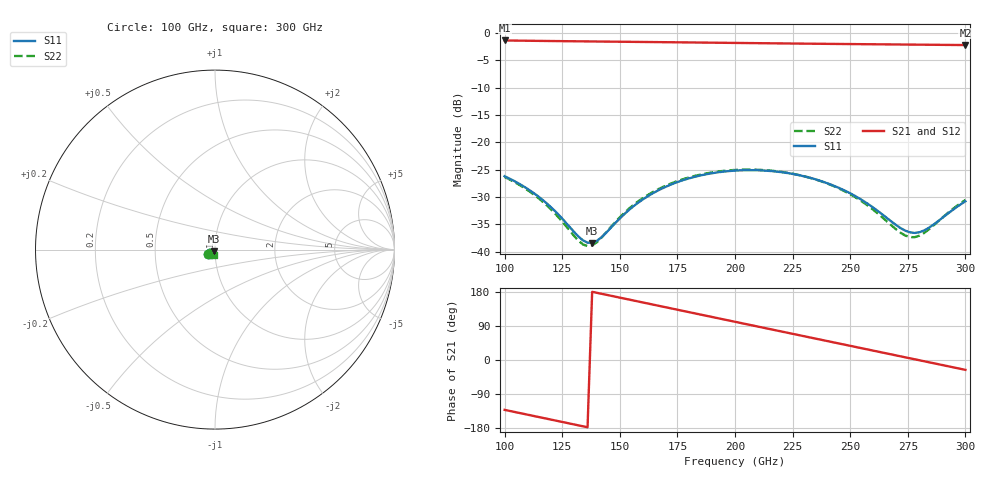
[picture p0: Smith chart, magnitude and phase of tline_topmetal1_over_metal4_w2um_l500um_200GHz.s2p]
#  GHZ S DB R 50
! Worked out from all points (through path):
!   101 points, 100 GHz to 300 GHz, reference 50 ohm
!   highest |S21| = -1.35 dB at 100 GHz (marker M1); lowest = -2.2 dB at 300 GHz (marker M2)
!   group delay of S21, straight-line fit = 3.53 ps
!   lowest |S11| = -38.4 dB at 138 GHz (marker M3), VSWR 1.02, Z = 49.4 - j1.01 ohm
!   |S11| at or under -10 dB: start of sweep to end of sweep
!   |S22| runs from -39.0 to -25.0 dB; largest |S21 - S12| = 9.3e-14
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100  -26.21 -147.8  -1.35 -131.6  -1.35 -131.6  -26.35 -147.9
108  -28.01 -156.4  -1.40 -141.8  -1.40 -141.8  -28.21 -156.6
116  -30.37 -162.4  -1.44 -152.0  -1.44 -152.0  -30.68 -162.5
126  -34.43 -160.9  -1.49 -164.8  -1.49 -164.8  -35.01 -160.4
134  -37.95 -140.5  -1.52 -175.0  -1.52 -175.0  -38.69 -136.4
138  -38.41 -121.8  -1.54 179.9  -1.54 179.9  -38.87 -115.5
142  -37.41 -104.9  -1.56 174.8  -1.56 174.8  -37.48 -98.6
154  -32.38 -88.4  -1.61 159.5  -1.61 159.5  -32.14 -85.0
160  -30.45 -90.1  -1.63 151.9  -1.63 151.9  -30.22 -87.4
168  -28.52 -95.7  -1.67 141.6  -1.67 141.6  -28.31 -93.5
184  -26.17 -111.4  -1.74 121.2  -1.74 121.2  -26.00 -109.8
200  -25.18 -129.0  -1.81 100.9  -1.81 100.9  -25.06 -127.7
216  -25.28 -146.5  -1.88 80.5  -1.88 80.5  -25.21 -145.5
224  -25.71 -154.9  -1.91 70.4  -1.91 70.4  -25.67 -154.0
234  -26.67 -164.6  -1.95 57.7  -1.95 57.7  -26.68 -163.9
244  -28.14 -172.8  -1.99 45.0  -1.99 45.0  -28.24 -172.4
252  -29.80 -177.3  -2.02 34.9  -2.02 34.9  -30.00 -177.0
268  -34.54 -171.4  -2.08 14.6  -2.08 14.6  -35.25 -170.0
274  -36.20 -157.8  -2.10 7.0  -2.10 7.0  -37.09 -153.7
280  -36.47 -138.4  -2.12 -0.6  -2.12 -0.6  -37.11 -130.9
290  -33.83 -116.2  -2.16 -13.3  -2.16 -13.3  -33.79 -108.7
300  -30.80 -112.0  -2.20 -26.0  -2.20 -26.0  -30.56 -106.1
